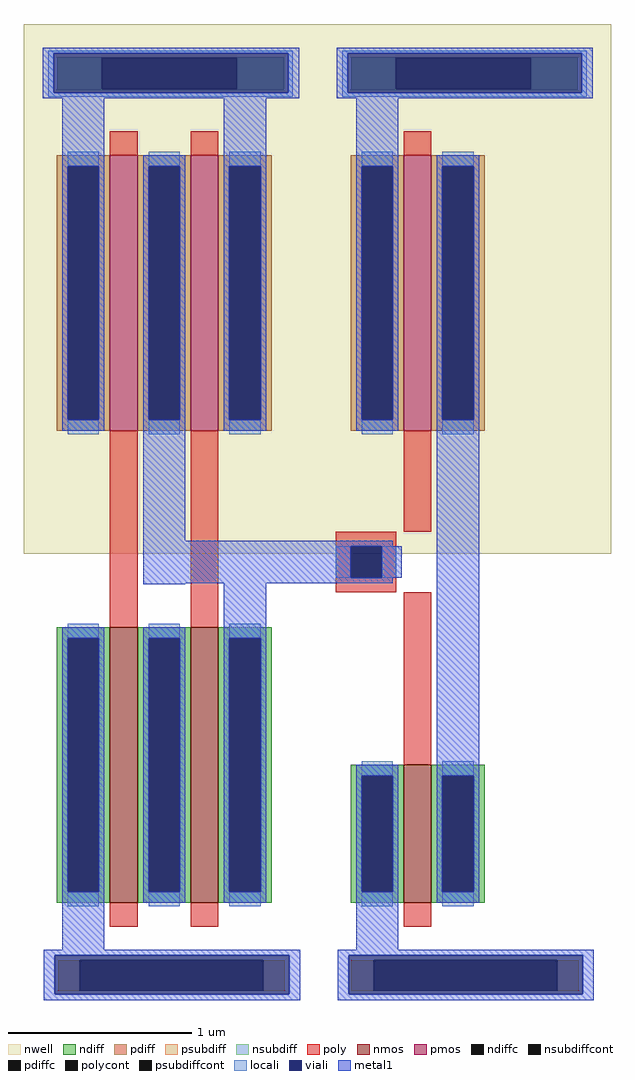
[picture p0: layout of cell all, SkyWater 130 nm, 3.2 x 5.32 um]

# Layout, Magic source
magic
tech sky130A
magscale 1 2
<< nwell >>
rect 0 486 640 1063
<< nmos >>
rect 94 106 124 406
rect 182 106 212 406
rect 414 106 444 256
<< pmos >>
rect 94 620 124 920
rect 182 620 212 920
rect 414 620 444 920
<< ndiff >>
rect 36 394 94 406
rect 36 118 48 394
rect 82 118 94 394
rect 36 106 94 118
rect 124 394 182 406
rect 124 118 136 394
rect 170 118 182 394
rect 124 106 182 118
rect 212 394 270 406
rect 212 118 224 394
rect 258 118 270 394
rect 212 106 270 118
rect 356 244 414 256
rect 356 118 368 244
rect 402 118 414 244
rect 356 106 414 118
rect 444 244 502 256
rect 444 118 456 244
rect 490 118 502 244
rect 444 106 502 118
<< pdiff >>
rect 36 908 94 920
rect 36 632 48 908
rect 82 632 94 908
rect 36 620 94 632
rect 124 908 182 920
rect 124 632 136 908
rect 170 632 182 908
rect 124 620 182 632
rect 212 908 270 920
rect 212 632 224 908
rect 258 632 270 908
rect 212 620 270 632
rect 356 908 414 920
rect 356 632 368 908
rect 402 632 414 908
rect 356 620 414 632
rect 444 908 502 920
rect 444 632 456 908
rect 490 632 502 908
rect 444 620 502 632
<< ndiffc >>
rect 48 118 82 394
rect 136 118 170 394
rect 224 118 258 394
rect 368 118 402 244
rect 456 118 490 244
<< pdiffc >>
rect 48 632 82 908
rect 136 632 170 908
rect 224 632 258 908
rect 368 632 402 908
rect 456 632 490 908
<< psubdiff >>
rect 37 10 61 44
rect 261 10 285 44
rect 357 10 381 44
rect 581 10 605 44
<< nsubdiff >>
rect 36 1026 284 1027
rect 36 992 85 1026
rect 232 992 284 1026
rect 36 991 284 992
rect 356 1026 604 1027
rect 356 992 405 1026
rect 552 992 604 1026
rect 356 991 604 992
<< psubdiffcont >>
rect 61 10 261 44
rect 381 10 581 44
<< nsubdiffcont >>
rect 85 992 232 1026
rect 405 992 552 1026
<< poly >>
rect 94 920 124 946
rect 182 920 212 946
rect 414 920 444 946
rect 94 406 124 620
rect 182 406 212 620
rect 414 510 444 620
rect 340 494 406 510
rect 340 460 356 494
rect 390 460 406 494
rect 340 444 406 460
rect 414 256 444 444
rect 94 80 124 106
rect 182 80 212 106
rect 414 80 444 106
<< polycont >>
rect 356 460 390 494
<< locali >>
rect 27 1031 293 1034
rect 27 988 33 1031
rect 288 988 293 1031
rect 27 984 293 988
rect 347 1031 613 1034
rect 347 988 353 1031
rect 608 988 613 1031
rect 347 984 613 988
rect 48 908 82 924
rect 48 616 82 632
rect 136 908 170 924
rect 136 616 170 632
rect 224 908 258 924
rect 224 616 258 632
rect 368 908 402 924
rect 368 616 402 632
rect 456 908 490 924
rect 456 616 490 632
rect 340 460 356 494
rect 390 460 406 494
rect 48 394 82 410
rect 48 102 82 118
rect 136 394 170 410
rect 136 102 170 118
rect 224 394 258 410
rect 224 102 258 118
rect 368 244 402 260
rect 368 102 402 118
rect 456 244 490 260
rect 456 102 490 118
<< viali >>
rect 33 1026 288 1031
rect 33 992 85 1026
rect 85 992 232 1026
rect 232 992 288 1026
rect 33 988 288 992
rect 353 1026 608 1031
rect 353 992 405 1026
rect 405 992 552 1026
rect 552 992 608 1026
rect 353 988 608 992
rect 48 632 82 908
rect 136 632 170 908
rect 224 632 258 908
rect 368 632 402 908
rect 456 632 490 908
rect 356 460 390 494
rect 48 118 82 394
rect 136 118 170 394
rect 224 118 258 394
rect 368 118 402 244
rect 456 118 490 244
rect 34 44 289 49
rect 34 10 61 44
rect 61 10 261 44
rect 261 10 289 44
rect 34 6 289 10
rect 354 44 609 49
rect 354 10 381 44
rect 381 10 581 44
rect 581 10 609 44
rect 354 6 609 10
<< metal1 >>
rect 21 1031 300 1037
rect 21 988 33 1031
rect 288 988 300 1031
rect 21 982 300 988
rect 341 1031 620 1037
rect 341 988 353 1031
rect 608 988 620 1031
rect 341 982 620 988
rect 42 908 88 982
rect 42 632 48 908
rect 82 632 88 908
rect 42 620 88 632
rect 130 908 176 920
rect 130 632 136 908
rect 170 632 176 908
rect 130 500 176 632
rect 218 908 264 982
rect 218 632 224 908
rect 258 632 264 908
rect 218 620 264 632
rect 362 908 408 982
rect 362 632 368 908
rect 402 632 408 908
rect 362 620 408 632
rect 450 908 496 920
rect 450 632 456 908
rect 490 632 496 908
rect 130 494 402 500
rect 130 460 356 494
rect 390 460 412 494
rect 130 454 402 460
rect 130 453 176 454
rect 42 394 88 406
rect 42 118 48 394
rect 82 118 88 394
rect 42 55 88 118
rect 130 394 176 406
rect 130 118 136 394
rect 170 118 176 394
rect 130 106 176 118
rect 218 394 264 454
rect 218 118 224 394
rect 258 118 264 394
rect 218 106 264 118
rect 362 244 408 256
rect 362 118 368 244
rect 402 118 408 244
rect 362 55 408 118
rect 450 244 496 632
rect 450 118 456 244
rect 490 118 496 244
rect 450 106 496 118
rect 22 49 301 55
rect 22 6 34 49
rect 289 6 301 49
rect 22 0 301 6
rect 342 49 621 55
rect 342 6 354 49
rect 609 6 621 49
rect 342 0 621 6
<< end >>
